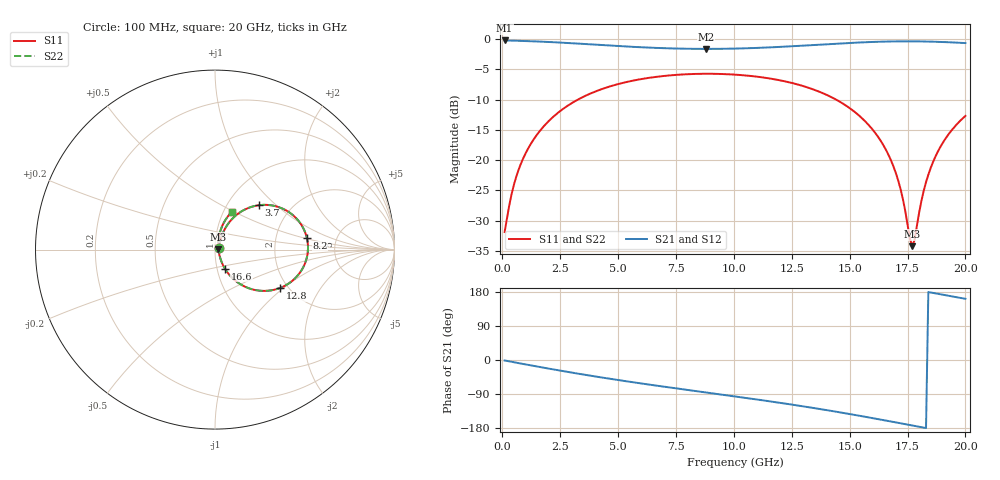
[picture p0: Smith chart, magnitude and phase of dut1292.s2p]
! Touchstone file exported from HFSS 2026.1.0
!  File:  C:/ffzhzh/LocalFiles/Ansys_Project_Files/temp_train_TSV_RDL_1292_1783332291_38820.aedt
!  Generated:  06:15:22 PM Jul  6, 2026
!  Design:  TSV_RDL
!  Project:  temp_train_TSV_RDL_1292_1783332291_38820
! Variables:
!  h_bsmrdl = 2.03um
!  h_ox = 20um
!  h_rdl = 5um
!  h_sub = 77.55um
!  h_tmrdl = 2.26um
!  h_tsv = 77.55um
!  h_via = 3um
!  l_bsmrdl = 478.04um
!  l_sub = 3138.99um
!  l_tmrdl = 296.18um
!  m_sub = 200um
!  pitch = 50.03um
!  r_tsv = 11.88um
!  s_tmrdl = 10um
!  w_bsmrdl = 22.44um
!  w_sub = 500um
!  w_tmrdl = 17.61um
!  x_tsv_center1 = 304.985um
!  x_tsv_center2 = 805.465um
!  x_tsv_center3 = 1119.255um
!  x_tsv_center4 = 1619.735um
!  x_tsv_center5 = 1933.525um
!  x_tsv_center6 = 2434.005um
# GHz S MA R 50.000000
! Terminal data exported
! Port[1] = TM_RDL1_1_T1
! Port[2] = TM_RDL5_1_T1
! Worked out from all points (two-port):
!   200 points, 100 MHz to 20 GHz, reference 50 ohm
!   highest |S21| = -0.20 dB at 100 MHz (marker M1); lowest = -1.6 dB at 8.8 GHz (marker M2)
!   |S21| within 3 dB of the highest: start of sweep to end of sweep
!   lowest |S11| = -34.2 dB at 17.7 GHz (marker M3), VSWR 1.04, Z = 52 + j0.1 ohm
!   |S11| at or under -10 dB: start of sweep to 3.256 GHz; 14.42 GHz to end of sweep
!   |S22| runs from -34.1 to -5.7 dB; largest |S21 - S12| = 3.9e-14
!   S11 on the Smith chart (normalised r, x): 100 MHz: 1.05, +0.02; 3.7 GHz: 1.39, +0.78; 8.2 GHz: 3.02, +0.55; 12.8 GHz: 1.82, -0.95; 16.6 GHz: 1.09, -0.23; 20 GHz: 1.10, +0.49
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0.1  0.02547 26.6  0.9774 -1.2  0.9774 -1.2  0.02547 26.6
! Gamma 0 0 0 0
! Port Impedance 50 0 50 0
0.6  0.07271 62.5  0.9723 -7.1  0.9723 -7.1  0.07271 62.5
1.2  0.1333 64.3  0.9638 -13.8  0.9638 -13.8  0.1333 64.3
2.2  0.2285 58.1  0.9455 -24.8  0.9455 -24.8  0.2285 58.1
3.5  0.3343 47.0  0.9151 -38.3  0.9151 -38.3  0.3343 47.0
3.7  0.3485 45.2  0.9101 -40.4  0.9101 -40.4  0.3485 45.2
6.8  0.4928 18.7  0.846 -68.9  0.846 -68.9  0.4928 18.7
8.2  0.5158 7.4  0.8335 -80.7  0.8335 -80.7  0.5158 7.5
8.8  0.5184 2.7  0.8322 -85.7  0.8322 -85.7  0.5184 2.7
10.1  0.5092 -7.8  0.8377 -96.5  0.8377 -96.5  0.5091 -7.7
12.8  0.4206 -30.6  0.8815 -120.5  0.8815 -120.5  0.4206 -30.5
13.4  0.3868 -35.9  0.8952 -126.2  0.8952 -126.2  0.3867 -35.9
15.3  0.2436 -53.4  0.9381 -145.8  0.9381 -145.8  0.2436 -53.3
16.6  0.1187 -62.6  0.9574 -160.2  0.9574 -160.2  0.1187 -62.5
16.7  0.1085 -62.8  0.9582 -161.3  0.9582 -161.3  0.1085 -62.7
17.2  0.05767 -59.0  0.9611 -167.0  0.9611 -167.0  0.05771 -58.7
17.7  0.01946 2.8  0.9613 -172.7  0.9613 -172.7  0.01975 3.1
17.8  0.02173 31.1  0.961 -173.9  0.961 -173.9  0.02202 30.9
18.2  0.05582 69.7  0.9587 -178.4  0.9587 -178.4  0.05598 69.5
18.6  0.09635 74.0  0.9548 177.0  0.9548 177.0  0.09647 73.9
19.2  0.1567 72.0  0.946 170.3  0.946 170.3  0.1568 71.9
20  0.2324 65.7  0.93 161.5  0.93 161.5  0.2324 65.7
